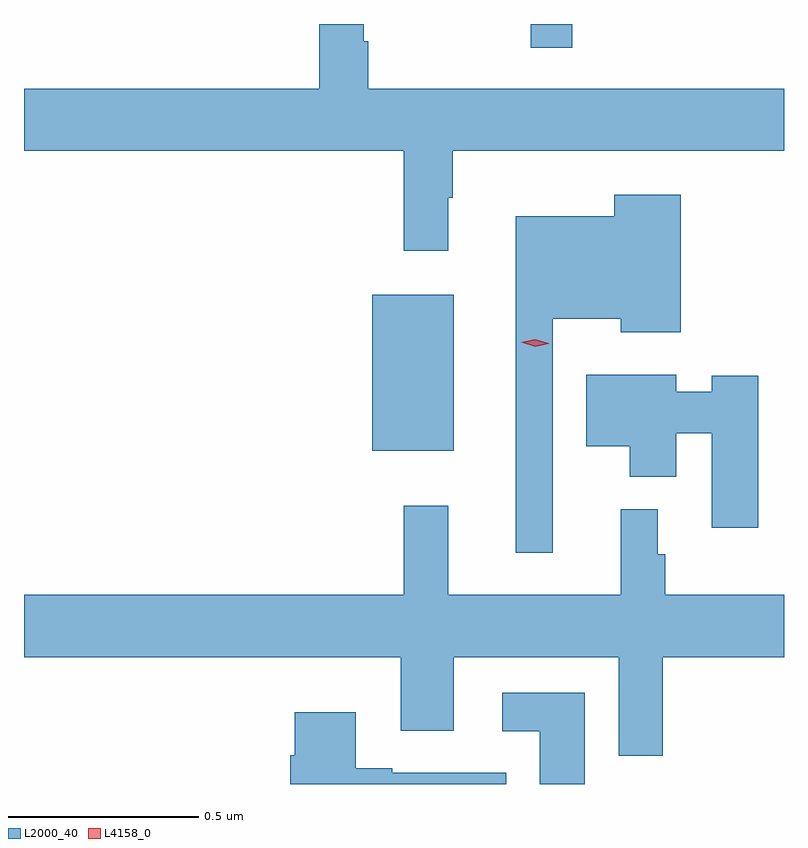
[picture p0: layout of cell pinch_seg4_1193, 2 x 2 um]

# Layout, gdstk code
import gdstk
lib = gdstk.Library(unit=1e-6, precision=1e-09)
def R(c, l, rs):  # rectangles x0, y0, x1, y1
    for r in rs: c.add(gdstk.rectangle(r[:2], r[2:], *l))
def P(c, l, *ps):  # polygons
    for p in ps: c.add(gdstk.Polygon(p, *l))
L2000_40 = (2000, 40)
L4158_0 = (4158, 0)

pinch_seg4_1193 = lib.new_cell('pinch_seg4_1193')
R(pinch_seg4_1193, L2000_40, [(434.198,750.743,434.413,751.153), (434.616,751.803,434.725,751.866)])
P(pinch_seg4_1193, L2000_40, [(434.398,751.409),(434.41,751.409),(434.41,751.532),(435.282,751.532),(435.282,751.696),(434.188,751.696),(434.188,751.82),(434.176,751.82),(434.176,751.866),(434.059,751.866),(434.059,751.696),(433.282,751.696),(433.282,751.532),(434.281,751.532),(434.281,751.269),(434.398,751.269)],
  [(434.673,751.091),(434.852,751.091),(434.852,751.055),(435.01,751.055),(435.01,751.417),(434.835,751.417),(434.835,751.36),(434.576,751.36),(434.576,750.474),(434.673,750.474)],
  [(435.214,750.941),(435.092,750.941),(435.092,750.898),(434.998,750.898),(434.998,750.943),(434.762,750.943),(434.762,750.755),(434.876,750.755),(434.876,750.674),(434.998,750.674),(434.998,750.789),(435.092,750.789),(435.092,750.54),(435.214,750.54)],
  [(434.963,750.2),(435.282,750.2),(435.282,750.364),(434.969,750.364),(434.969,750.471),(434.95,750.471),(434.95,750.589),(434.852,750.589),(434.852,750.364),(434.399,750.364),(434.399,750.598),(434.281,750.598),(434.281,750.364),(433.282,750.364),(433.282,750.2),(434.273,750.2),(434.273,750.006),(434.413,750.006),(434.413,750.2),(434.847,750.2),(434.847,749.94),(434.963,749.94)],
  [(434.758,750.106),(434.541,750.106),(434.541,750.005),(434.639,750.005),(434.639,749.866),(434.758,749.866)],
  [(434.551,749.895),(434.251,749.895),(434.251,749.908),(434.155,749.908),(434.155,750.055),(433.994,750.055),(433.994,749.942),(433.982,749.942),(433.982,749.866),(434.551,749.866)])
P(pinch_seg4_1193, L4158_0, [(434.627,751.017),(434.591,751.028),(434.591,751.028),(434.591,751.028),(434.627,751.037),(434.663,751.026),(434.663,751.026),(434.663,751.025)])

lib.write_gds('pinch_seg4_1193.gds')
